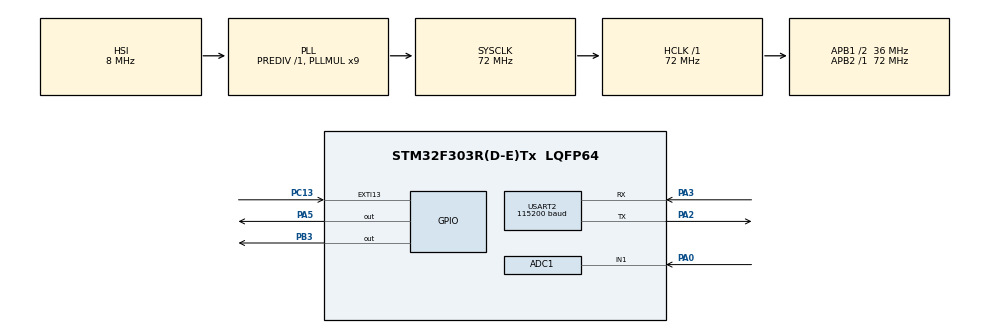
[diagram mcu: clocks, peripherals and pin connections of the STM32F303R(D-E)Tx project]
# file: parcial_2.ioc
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ADC1.Channel-0\#ChannelRegularConversion=ADC_CHANNEL_1
ADC1.NbrOfConversionFlag=1
ADC1.Offset-0\#ChannelRegularConversion=0
ADC1.OffsetNumber-0\#ChannelRegularConversion=ADC_OFFSET_NONE
ADC1.Rank-0\#ChannelRegularConversion=1
ADC1.SamplingTime-0\#ChannelRegularConversion=ADC_SAMPLETIME_61CYCLES_5
ADC1.master=1
Mcu.Family=STM32F3
Mcu.Name=STM32F303R(D-E)Tx
Mcu.Package=LQFP64
NVIC.EXTI15_10_IRQn=true\:0\:0\:false\:false\:true\:true\:true\:true
NVIC.PriorityGroup=NVIC_PRIORITYGROUP_4
NVIC.TIM4_IRQn=true\:0\:0\:false\:false\:true\:true\:true\:true
NVIC.USART2_IRQn=true\:0\:0\:false\:false\:true\:true\:true\:true
PA0.Mode=IN1-Single-Ended
PA0.Signal=ADC1_IN1
PA13.Mode=Serial_Wire
PA13.Signal=SYS_JTMS-SWDIO
PA14.Mode=Serial_Wire
PA14.Signal=SYS_JTCK-SWCLK
PA2.Mode=Asynchronous
PA2.Signal=USART2_TX
PA3.Mode=Asynchronous
PA3.Signal=USART2_RX
PA5.Signal=GPIO_Output
PB3.Signal=GPIO_Output
PC13.GPIO_ModeDefaultEXTI=GPIO_MODE_IT_RISING_FALLING
PC13.Signal=GPXTI13
ProjectManager.HeapSize=0x200
ProjectManager.StackSize=0x400
ProjectManager.TargetToolchain=STM32CubeIDE
RCC.AHBFreq_Value=72000000
RCC.APB1CLKDivider=RCC_HCLK_DIV2
RCC.APB1Freq_Value=36000000
RCC.APB1TimFreq_Value=72000000
RCC.APB2Freq_Value=72000000
RCC.APB2TimFreq_Value=72000000
RCC.CortexFreq_Value=72000000
RCC.HCLKFreq_Value=72000000
RCC.HSE_VALUE=8000000
RCC.HSI_VALUE=8000000
RCC.LSE_VALUE=32768
RCC.PLLMUL=RCC_PLL_MUL9
RCC.SYSCLKFreq_VALUE=72000000
RCC.SYSCLKSourceVirtual=RCC_SYSCLKSOURCE_PLLCLK
RCC.USBFreq_Value=72000000
TIM4.Period=999
TIM4.Prescaler=71
USART2.BaudRate=115200
USART2.VirtualMode-Asynchronous=VM_ASYNC
VP_TIM4_VS_ClockSourceINT.Mode=Internal
board=custom

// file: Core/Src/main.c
/* USER CODE BEGIN Header */
/**
 ******************************************************************************
 * @file           : main.c
 * @brief          : Main program body
 ******************************************************************************
 * @attention
 *
 * Copyright (c) 2026 STMicroelectronics.
 * All rights reserved.
 *
 * This software is licensed under terms that can be found in the LICENSE file
 * in the root directory of this software component.
 * If no LICENSE file comes with this software, it is provided AS-IS.
 *
 ******************************************************************************
 */
/* USER CODE END Header */
#include "main.h"
#include <stdio.h>
#include <string.h>

/* USER CODE BEGIN PD */
#define G_MS_INICIAL 0
#define MODO_RUN   0
#define MODO_PAUSA 1
#define ADC_MAX 4095
#define THR_INICIAL 70   // umbral inicial en %
#define HISTERESIS  5    // la alarma apaga cuando pct < thr - 5
#define RX_TAM    128   // tamano del buffer circular de entrada
#define TX_TAM    512   // tamano del buffer circular de salida
#define LINEA_MAX 32    // maximo de caracteres por linea (sin el terminador)
/* USER CODE END PD */

ADC_HandleTypeDef hadc1;

TIM_HandleTypeDef htim4;

UART_HandleTypeDef huart2;

/* USER CODE BEGIN PV */
volatile uint32_t g_ms = G_MS_INICIAL;   // milisegundos (lo suma TIM4)
volatile uint32_t g_flanco = 0;   // la ISR lo pone en 1 cuando el botón cambia

uint32_t modo = MODO_RUN;   // despues de cada reinicio arranca en RUN
uint32_t ms_actividad = 0;               // cuenta para el led de actividad
uint32_t boton_estable = 0;       // 1 = presionado, 0 = suelto (ya confirmado)
uint32_t cuenta_cambio = 0;       // ms que lleva la lectura distinta del estado confirmado
uint32_t cont_pulsaciones = 0;    // pulsaciones validas
uint32_t evento_boton = 0;        // lo pone el boton, lo consume main

uint32_t adc_valor = 0;        // ultima lectura del adc (0 a 4095)
uint32_t muestra_valida = 0;   // 1 = ya hay al menos una lectura
uint32_t ms_adc = 0;           // cuenta para muestrear cada 100 ms
uint32_t cont_muestras = 0;    // cuantas lecturas van (prueba de tiempo)

uint32_t pct = 0;   // porcentaje de la ultima lectura (0 a 100)
uint32_t thr = THR_INICIAL;   // umbral actual
uint32_t alarma = 0;          // 1 = alarma encendida

// uart: buffer circular de entrada
uint8_t rx_buf[RX_TAM];
volatile uint32_t rx_head = 0;   // donde escribe la ISR
volatile uint32_t rx_tail = 0;   // donde lee main
uint8_t rx_byte;                 // aqui llega cada caracter
uint32_t rx_errores = 0;         // errores de la uart
uint32_t rx_overflow = 0;        // veces que se lleno el buffer

// uart: buffer circular de salida
uint8_t tx_buf[TX_TAM];
volatile uint32_t tx_head = 0;       // donde escribe main
volatile uint32_t tx_tail = 0;       // donde lee la ISR
volatile uint32_t tx_len = 0;        // tamano del bloque que se esta mandando
volatile uint32_t tx_enviando = 0;   // 1 = hay un bloque saliendo
uint32_t tx_perdidos = 0;            // caracteres descartados por buffer lleno

// uart: linea que se esta armando
char linea[LINEA_MAX + 1];       // +1 para el '\0'
uint32_t linea_len = 0;          // cuantos caracteres lleva
uint32_t descartando = 0;        // 1 = linea muy larga, ignoro hasta el LF

// telemetria
uint32_t ms_telemetria = 0;      // cuenta para mandar cada 1000 ms
/* USER CODE END PV */

void SystemClock_Config(void);
static void MX_GPIO_Init(void);
static void MX_TIM4_Init(void);
static void MX_ADC1_Init(void);
static void MX_USART2_UART_Init(void);
/* USER CODE BEGIN PFP */
void reiniciar_alarma(void);
void boton_actualizar(void);
uint32_t tomar_flanco(void);
void leer_adc(void);
void evaluar_alarma(void);
uint32_t adc_a_pct(uint32_t valor);

void poner_pausa(void);
void poner_run(void);
uint32_t rx_leer(uint8_t *c);
uint32_t armar_linea(uint8_t c);
void tx_iniciar(void);
void enviar(const char *texto);
void enviar_estado(void);
uint32_t leer_numero(const char *s, uint32_t *valor);
void procesar_linea(void);
/* USER CODE END PFP */

int main(void) {

	/* MCU Configuration--------------------------------------------------------*/

	/* Reset of all peripherals, Initializes the Flash interface and the Systick. */
	HAL_Init();

	/* Configure the system clock */
	SystemClock_Config();

	/* Initialize all configured peripherals */
	MX_GPIO_Init();
	MX_TIM4_Init();
	MX_ADC1_Init();
	MX_USART2_UART_Init();
	/* USER CODE BEGIN 2 */
	HAL_TIM_Base_Start_IT(&htim4);   // arranca el tick de 1 ms
	HAL_UART_Receive_IT(&huart2, &rx_byte, 1);   // empieza a escuchar 1 byte
	// tiempo de muestreo largo para el potenciometro (61.5 ciclos)
	ADC_ChannelConfTypeDef sConfig = { 0 };
	sConfig.Channel = ADC_CHANNEL_1;
	sConfig.Rank = ADC_REGULAR_RANK_1;
	sConfig.SingleDiff = ADC_SINGLE_ENDED;
	sConfig.SamplingTime = ADC_SAMPLETIME_61CYCLES_5;
	sConfig.OffsetNumber = ADC_OFFSET_NONE;
	sConfig.Offset = 0;
	HAL_ADC_ConfigChannel(&hadc1, &sConfig);

	// calibracion del adc (se hace una vez al arrancar)
	HAL_ADCEx_Calibration_Start(&hadc1, ADC_SINGLE_ENDED);

	uint32_t h_tick = g_ms;
	/* USER CODE END 2 */

	/* Infinite loop */
	while (1) {

		/* USER CODE BEGIN 3 */
		// Bloque que corre una vez por cada ms
		if ((uint32_t) (g_ms - h_tick) >= 1U) {
			h_tick = h_tick + 1U;

			// led de actividad, cambia cada 500 ms
			ms_actividad++;
			if (ms_actividad >= 500) {
				ms_actividad = 0;
				HAL_GPIO_TogglePin(GPIOA, GPIO_PIN_5);
			}

			boton_actualizar();
			// una muestra cada 100 ms del adc(sigue en RUN y en PAUSA)
			ms_adc++;
			if (ms_adc >= 100) {
				ms_adc = 0;
				leer_adc();
			}

			// telemetria cada 1000 ms (sigue en RUN y en PAUSA)
			ms_telemetria++;
			if (ms_telemetria >= 1000) {
				ms_telemetria = 0;
				enviar_estado();
			}
			// una pulsacion valida cambia entre RUN y PAUSA
			if (evento_boton == 1) {
				evento_boton = 0;
				if (modo == MODO_RUN) {
					poner_pausa();
				} else {
					poner_run();
				}
			}
		}

		// uart: leer lo que llego y armar lineas
		uint8_t c;
		while (rx_leer(&c) == 1) {
			uint32_t r = armar_linea(c);

			if (r == 1) {
				procesar_linea();   // linea completa: ejecuta el comando
			} else if (r == 2) {
				enviar("ERR\r\n");  // linea muy larga
			}
		}
	}
	/* USER CODE END 3 */
}

void SystemClock_Config(void) {
	RCC_OscInitTypeDef RCC_OscInitStruct = { 0 };
	RCC_ClkInitTypeDef RCC_ClkInitStruct = { 0 };
	RCC_PeriphCLKInitTypeDef PeriphClkInit = { 0 };

	/** Initializes the RCC Oscillators according to the specified parameters
	 * in the RCC_OscInitTypeDef structure.
	 */
	RCC_OscInitStruct.OscillatorType = RCC_OSCILLATORTYPE_HSI;
	RCC_OscInitStruct.HSIState = RCC_HSI_ON;
	RCC_OscInitStruct.HSICalibrationValue = RCC_HSICALIBRATION_DEFAULT;
	RCC_OscInitStruct.PLL.PLLState = RCC_PLL_ON;
	RCC_OscInitStruct.PLL.PLLSource = RCC_PLLSOURCE_HSI;
	RCC_OscInitStruct.PLL.PLLMUL = RCC_PLL_MUL9;
	RCC_OscInitStruct.PLL.PREDIV = RCC_PREDIV_DIV1;
	if (HAL_RCC_OscConfig(&RCC_OscInitStruct) != HAL_OK) {
		Error_Handler();
	}

	/** Initializes the CPU, AHB and APB buses clocks
	 */
	RCC_ClkInitStruct.ClockType = RCC_CLOCKTYPE_HCLK | RCC_CLOCKTYPE_SYSCLK
			| RCC_CLOCKTYPE_PCLK1 | RCC_CLOCKTYPE_PCLK2;
	RCC_ClkInitStruct.SYSCLKSource = RCC_SYSCLKSOURCE_PLLCLK;
	RCC_ClkInitStruct.AHBCLKDivider = RCC_SYSCLK_DIV1;
	RCC_ClkInitStruct.APB1CLKDivider = RCC_HCLK_DIV2;
	RCC_ClkInitStruct.APB2CLKDivider = RCC_HCLK_DIV1;

	if (HAL_RCC_ClockConfig(&RCC_ClkInitStruct, FLASH_LATENCY_2) != HAL_OK) {
		Error_Handler();
	}
	PeriphClkInit.PeriphClockSelection = RCC_PERIPHCLK_USART2
			| RCC_PERIPHCLK_ADC12 | RCC_PERIPHCLK_TIM34;
	PeriphClkInit.Usart2ClockSelection = RCC_USART2CLKSOURCE_PCLK1;
	PeriphClkInit.Adc12ClockSelection = RCC_ADC12PLLCLK_DIV1;
	PeriphClkInit.Tim34ClockSelection = RCC_TIM34CLK_HCLK;
	if (HAL_RCCEx_PeriphCLKConfig(&PeriphClkInit) != HAL_OK) {
		Error_Handler();
	}
}

static void MX_ADC1_Init(void) {

	ADC_MultiModeTypeDef multimode = { 0 };
	ADC_ChannelConfTypeDef sConfig = { 0 };

	/** Common config
	 */
	hadc1.Instance = ADC1;
	hadc1.Init.ClockPrescaler = ADC_CLOCK_ASYNC_DIV1;
	hadc1.Init.Resolution = ADC_RESOLUTION_12B;
	hadc1.Init.ScanConvMode = ADC_SCAN_DISABLE;
	hadc1.Init.ContinuousConvMode = DISABLE;
	hadc1.Init.DiscontinuousConvMode = DISABLE;
	hadc1.Init.ExternalTrigConvEdge = ADC_EXTERNALTRIGCONVEDGE_NONE;
	hadc1.Init.ExternalTrigConv = ADC_SOFTWARE_START;
	hadc1.Init.DataAlign = ADC_DATAALIGN_RIGHT;
	hadc1.Init.NbrOfConversion = 1;
	hadc1.Init.DMAContinuousRequests = DISABLE;
	hadc1.Init.EOCSelection = ADC_EOC_SINGLE_CONV;
	hadc1.Init.LowPowerAutoWait = DISABLE;
	hadc1.Init.Overrun = ADC_OVR_DATA_OVERWRITTEN;
	if (HAL_ADC_Init(&hadc1) != HAL_OK) {
		Error_Handler();
	}

	/** Configure the ADC multi-mode
	 */
	multimode.Mode = ADC_MODE_INDEPENDENT;
	if (HAL_ADCEx_MultiModeConfigChannel(&hadc1, &multimode) != HAL_OK) {
		Error_Handler();
	}

	/** Configure Regular Channel
	 */
	sConfig.Channel = ADC_CHANNEL_1;
	sConfig.Rank = ADC_REGULAR_RANK_1;
	sConfig.SingleDiff = ADC_SINGLE_ENDED;
	sConfig.SamplingTime = ADC_SAMPLETIME_61CYCLES_5;
	sConfig.OffsetNumber = ADC_OFFSET_NONE;
	sConfig.Offset = 0;
	if (HAL_ADC_ConfigChannel(&hadc1, &sConfig) != HAL_OK) {
		Error_Handler();
	}

}

static void MX_TIM4_Init(void) {

	TIM_ClockConfigTypeDef sClockSourceConfig = { 0 };
	TIM_MasterConfigTypeDef sMasterConfig = { 0 };

	htim4.Instance = TIM4;
	htim4.Init.Prescaler = 71;
	htim4.Init.CounterMode = TIM_COUNTERMODE_UP;
	htim4.Init.Period = 999;
	htim4.Init.ClockDivision = TIM_CLOCKDIVISION_DIV1;
	htim4.Init.AutoReloadPreload = TIM_AUTORELOAD_PRELOAD_DISABLE;
	if (HAL_TIM_Base_Init(&htim4) != HAL_OK) {
		Error_Handler();
	}
	sClockSourceConfig.ClockSource = TIM_CLOCKSOURCE_INTERNAL;
	if (HAL_TIM_ConfigClockSource(&htim4, &sClockSourceConfig) != HAL_OK) {
		Error_Handler();
	}
	sMasterConfig.MasterOutputTrigger = TIM_TRGO_RESET;
	sMasterConfig.MasterSlaveMode = TIM_MASTERSLAVEMODE_DISABLE;
	if (HAL_TIMEx_MasterConfigSynchronization(&htim4, &sMasterConfig)
			!= HAL_OK) {
		Error_Handler();
	}

}

static void MX_USART2_UART_Init(void) {

	huart2.Instance = USART2;
	huart2.Init.BaudRate = 115200;
	huart2.Init.WordLength = UART_WORDLENGTH_8B;
	huart2.Init.StopBits = UART_STOPBITS_1;
	huart2.Init.Parity = UART_PARITY_NONE;
	huart2.Init.Mode = UART_MODE_TX_RX;
	huart2.Init.HwFlowCtl = UART_HWCONTROL_NONE;
	huart2.Init.OverSampling = UART_OVERSAMPLING_16;
	huart2.Init.OneBitSampling = UART_ONE_BIT_SAMPLE_DISABLE;
	huart2.AdvancedInit.AdvFeatureInit = UART_ADVFEATURE_NO_INIT;
	if (HAL_UART_Init(&huart2) != HAL_OK) {
		Error_Handler();
	}

}

static void MX_GPIO_Init(void) {
	GPIO_InitTypeDef GPIO_InitStruct = { 0 };

	/* GPIO Ports Clock Enable */
	__HAL_RCC_GPIOC_CLK_ENABLE();
	__HAL_RCC_GPIOA_CLK_ENABLE();
	__HAL_RCC_GPIOB_CLK_ENABLE();

	/*Configure GPIO pin Output Level */
	HAL_GPIO_WritePin(GPIOA, GPIO_PIN_5, GPIO_PIN_RESET);

	/*Configure GPIO pin Output Level */
	HAL_GPIO_WritePin(GPIOB, GPIO_PIN_3, GPIO_PIN_RESET);

	/*Configure GPIO pin : PC13 */
	GPIO_InitStruct.Pin = GPIO_PIN_13;
	GPIO_InitStruct.Mode = GPIO_MODE_IT_RISING_FALLING;
	GPIO_InitStruct.Pull = GPIO_NOPULL;
	HAL_GPIO_Init(GPIOC, &GPIO_InitStruct);

	/*Configure GPIO pin : PA5 */
	GPIO_InitStruct.Pin = GPIO_PIN_5;
	GPIO_InitStruct.Mode = GPIO_MODE_OUTPUT_PP;
	GPIO_InitStruct.Pull = GPIO_NOPULL;
	GPIO_InitStruct.Speed = GPIO_SPEED_FREQ_LOW;
	HAL_GPIO_Init(GPIOA, &GPIO_InitStruct);

	/*Configure GPIO pin : PB3 */
	GPIO_InitStruct.Pin = GPIO_PIN_3;
	GPIO_InitStruct.Mode = GPIO_MODE_OUTPUT_PP;
	GPIO_InitStruct.Pull = GPIO_NOPULL;
	GPIO_InitStruct.Speed = GPIO_SPEED_FREQ_LOW;
	HAL_GPIO_Init(GPIOB, &GPIO_InitStruct);

	/* EXTI interrupt init*/
	HAL_NVIC_SetPriority(EXTI15_10_IRQn, 0, 0);
	HAL_NVIC_EnableIRQ(EXTI15_10_IRQn);

}

/* USER CODE BEGIN 4 */
// Convierte la lectura del adc (0 a 4095) a porcentaje (0 a 100) con redondeo
uint32_t adc_a_pct(uint32_t valor) {
	// se usa 32 bits: 100 * 4095 = 409500, no cabe en 16 bits
	return (100 * valor + ADC_MAX / 2) / ADC_MAX;
}
// ISR del boton
void HAL_GPIO_EXTI_Callback(uint16_t GPIO_Pin) {
	if (GPIO_Pin == GPIO_PIN_13) {
		g_flanco = 1;
	}
}

// Lee la nota y la borra sin que la ISR se meta en medio
uint32_t tomar_flanco(void) {
	__disable_irq();
	uint32_t hubo = g_flanco;
	g_flanco = 0;
	__enable_irq();
	return hubo;
}

// Se llama una vez por ms
void boton_actualizar(void) {
	// 1 = presionado (en la placa presionado lee 0)
	uint32_t lectura = (HAL_GPIO_ReadPin(GPIOC, GPIO_PIN_13) == GPIO_PIN_RESET);

	// Si hubo un flanco, reinicia la espera de 30 ms
	if (tomar_flanco() == 1) {
		cuenta_cambio = 0;
	}

	// Antirrebote
	if (lectura == boton_estable) {
		cuenta_cambio = 0;
	} else {
		cuenta_cambio++;
		if (cuenta_cambio >= 30) {
			cuenta_cambio = 0;
			boton_estable = lectura;

			if (boton_estable == 1) {   // pulsacion confirmada
				cont_pulsaciones++;
				evento_boton = 1;
			}
			// la liberacion tambien se confirma aqui, antes de aceptar otra
		}
	}
}

// Se llama sola cada 1 ms
void HAL_TIM_PeriodElapsedCallback(TIM_HandleTypeDef *htim) {
	if (htim->Instance == TIM4) {
		g_ms = g_ms + 1;
	}
}

// Lee el adc una vez, la conversion dura unos microsegundos
void leer_adc(void) {
	HAL_ADC_Start(&hadc1);
	if (HAL_ADC_PollForConversion(&hadc1, 5) == HAL_OK) {
		adc_valor = HAL_ADC_GetValue(&hadc1);
		pct = adc_a_pct(adc_valor);
		muestra_valida = 1;
		cont_muestras++;
		evaluar_alarma();
	}
	HAL_ADC_Stop(&hadc1);
}

// Decide si la alarma enciende o apaga, con histeresis
void evaluar_alarma(void) {
	if (muestra_valida == 0) {
		return;   // todavia no hay lectura
	}
	if (modo != MODO_RUN) {
		return;   // en pausa se maneja en la etapa 8
	}

	if (pct >= thr) {
		alarma = 1;
	} else if (pct + HISTERESIS < thr) {
		alarma = 0;   // pct < thr - 5, escrito asi para no restar sin signo
	}
	// en la banda intermedia no se toca: conserva su estado

	HAL_GPIO_WritePin(GPIOB, GPIO_PIN_3, (GPIO_PinState) alarma);
}

// Reinicia la decision de la alarma con la ultima muestra (sin histeresis)
void reiniciar_alarma(void) {
	if (muestra_valida == 0) {
		return;   // espera la primera muestra, evaluar_alarma la atiende
	}
	if (pct >= thr) {
		alarma = 1;
	} else {
		alarma = 0;
	}
	HAL_GPIO_WritePin(GPIOB, GPIO_PIN_3, (GPIO_PinState) alarma);
}

// Pasa a PAUSA: la alarma se apaga
void poner_pausa(void) {
	modo = MODO_PAUSA;
	alarma = 0;
	HAL_GPIO_WritePin(GPIOB, GPIO_PIN_3, GPIO_PIN_RESET);
}

// Pasa a RUN. Si ya estaba en RUN no cambia nada (conserva la alarma)
void poner_run(void) {
	if (modo == MODO_RUN) {
		return;
	}
	modo = MODO_RUN;
	reiniciar_alarma();   // al reanudar se decide de nuevo
}

// ISR de la uart: llego un byte
void HAL_UART_RxCpltCallback(UART_HandleTypeDef *huart) {
	if (huart->Instance == USART2) {
		uint32_t siguiente = (rx_head + 1) % RX_TAM;

		if (siguiente == rx_tail) {
			rx_overflow++;   // buffer lleno, se pierde el byte
		} else {
			rx_buf[rx_head] = rx_byte;
			rx_head = siguiente;
		}
		HAL_UART_Receive_IT(&huart2, &rx_byte, 1);   // listo para el siguiente
	}
}

// Si la uart tiene un error (por ejemplo overrun)
void HAL_UART_ErrorCallback(UART_HandleTypeDef *huart) {
	if (huart->Instance == USART2) {
		rx_errores++;
		HAL_UART_Receive_IT(&huart2, &rx_byte, 1);   // volver a escuchar
	}
}

// ISR de la uart: termino de salir un bloque
void HAL_UART_TxCpltCallback(UART_HandleTypeDef *huart) {
	if (huart->Instance == USART2) {
		tx_tail = (tx_tail + tx_len) % TX_TAM;   // ese bloque ya salio
		tx_enviando = 0;
		tx_iniciar();                            // si queda algo, lo manda
	}
}

// Saca un byte del buffer. Devuelve 1 si habia, 0 si estaba vacio
uint32_t rx_leer(uint8_t *c) {
	if (rx_tail == rx_head) {
		return 0;
	}
	*c = rx_buf[rx_tail];
	rx_tail = (rx_tail + 1) % RX_TAM;
	return 1;
}

// Mete un caracter a la linea. Solo el LF termina la linea (el CR se ignora,
// asi LF y CRLF funcionan igual).
// Devuelve: 0 = nada, 1 = linea completa, 2 = linea muy larga
uint32_t armar_linea(uint8_t c) {
	if (c == '\r') {
		return 0;   // el CR de un CRLF no hace nada
	}

	// fin de linea (LF)
	if (c == '\n') {
		if (descartando == 1) {
			descartando = 0;
			linea_len = 0;
			return 2;   // la linea era muy larga: se descarta completa
		}
		if (linea_len > 0) {
			linea[linea_len] = '\0';   // cierra el texto
			linea_len = 0;
			return 1;
		}
		return 0;   // linea vacia: se ignora
	}

	// caracter normal
	if (descartando == 1) {
		return 0;   // la linea se paso, ignoro hasta el LF
	}
	if (linea_len < LINEA_MAX) {
		linea[linea_len] = (char) c;
		linea_len++;
	} else {
		descartando = 1;   // llego el caracter 33
	}
	return 0;
}

// Manda por la uart el bloque que haya en el buffer de salida.
// Solo arranca si no hay otro bloque saliendo.
// (quien la llame desde main debe apagar las interrupciones un instante)
void tx_iniciar(void) {
	if (tx_enviando == 1 || tx_tail == tx_head) {
		return;   // ya hay uno saliendo, o no hay nada que mandar
	}

	uint32_t h = tx_head;
	uint32_t len;
	if (h > tx_tail) {
		len = h - tx_tail;          // todo seguido hasta head
	} else {
		len = TX_TAM - tx_tail;     // hasta el final del arreglo (luego da la vuelta)
	}

	tx_len = len;
	tx_enviando = 1;
	if (HAL_UART_Transmit_IT(&huart2, &tx_buf[tx_tail], len) != HAL_OK) {
		tx_enviando = 0;   // no pudo arrancar, se reintenta en el siguiente enviar
	}
}

// Manda un texto por la uart SIN esperar: lo copia al buffer y sigue
void enviar(const char *texto) {
	for (uint32_t i = 0; texto[i] != '\0'; i++) {
		uint32_t siguiente = (tx_head + 1) % TX_TAM;

		if (siguiente == tx_tail) {
			tx_perdidos++;   // buffer lleno, descarto lo que sobra
			break;
		}
		tx_buf[tx_head] = (uint8_t) texto[i];
		tx_head = siguiente;
	}

	__disable_irq();
	tx_iniciar();
	__enable_irq();
}

// Arma la linea de estado y la manda. La usan la telemetria y STATUS
void enviar_estado(void) {
	const char *nombre = "RUN";
	if (modo == MODO_PAUSA) {
		nombre = "PAUSE";
	}

	char resp[100];
	snprintf(resp, sizeof(resp),
			"t=%lu;ADC=%lu;PCT=%lu;THR=%lu;MODE=%s;ALARM=%lu\r\n",
			(unsigned long) (g_ms - G_MS_INICIAL), (unsigned long) adc_valor,
			(unsigned long) pct, (unsigned long) thr, nombre,
			(unsigned long) alarma);
	enviar(resp);
}

// Revisa que s sea solo digitos y devuelve su valor en *valor.
// Devuelve: 0 = bien, 1 = no es un numero limpio
uint32_t leer_numero(const char *s, uint32_t *valor) {
	if (s[0] == '\0') {
		return 1;   // vacio
	}

	uint32_t v = 0;
	for (uint32_t i = 0; s[i] != '\0'; i++) {
		if (s[i] < '0' || s[i] > '9') {
			return 1;   // letra, punto decimal, signo, etc
		}
		if (v < 1000) {
			v = v * 10 + (s[i] - '0');   // si ya paso de 1000 no sigo, no desborda
		}
	}
	*valor = v;
	return 0;
}

// Ejecuta el comando que esta en linea
void procesar_linea(void) {
	// parte la linea en palabras (ignora espacios al inicio y al final)
	char *cmd = strtok(linea, " \t");
	char *arg = strtok(NULL, " \t");
	char *extra = strtok(NULL, " \t");

	if (cmd == NULL) {
		return;   // solo habia espacios
	}

	if (strcmp(cmd, "STATUS") == 0) {
		if (arg != NULL) {
			enviar("ERR\r\n");
		} else {
			enviar_estado();
		}
	}

	else if (strcmp(cmd, "THR") == 0) {
		uint32_t n;
		if (arg == NULL || extra != NULL) {
			enviar("ERR\r\n");
		} else if (leer_numero(arg, &n) != 0 || n < 10 || n > 95) {
			enviar("ERR\r\n");   // texto, decimal o fuera de 10..95
		} else {
			thr = n;
			if (modo == MODO_RUN) {
				reiniciar_alarma();   // en pausa la alarma sigue apagada
			}
			char resp[24];
			snprintf(resp, sizeof(resp), "OK THR=%lu\r\n", (unsigned long) n);
			enviar(resp);
		}
	}

	else if (strcmp(cmd, "START") == 0) {
		if (arg != NULL) {
			enviar("ERR\r\n");
		} else {
			poner_run();
			enviar("OK RUN\r\n");
		}
	}

	else if (strcmp(cmd, "STOP") == 0) {
		if (arg != NULL) {
			enviar("ERR\r\n");
		} else {
			poner_pausa();
			enviar("OK PAUSE\r\n");
		}
	}

	else {
		enviar("ERR\r\n");   // comando desconocido
	}
}
/* USER CODE END 4 */

void Error_Handler(void) {
	__disable_irq();
	while (1) {
	}
}
